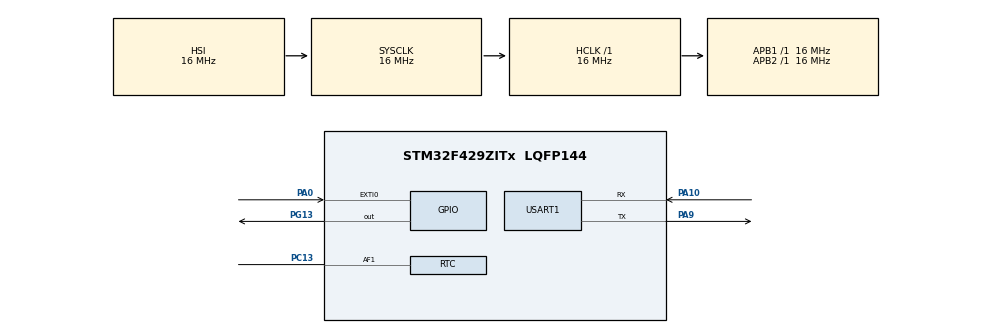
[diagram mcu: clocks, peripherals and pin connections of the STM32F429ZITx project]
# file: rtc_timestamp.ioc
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Mcu.Family=STM32F4
Mcu.Name=STM32F429ZITx
Mcu.Package=LQFP144
NVIC.EXTI0_IRQn=true\:0\:0\:false\:false\:true\:true\:true\:true
NVIC.PriorityGroup=NVIC_PRIORITYGROUP_4
NVIC.TAMP_STAMP_IRQn=true\:0\:0\:false\:false\:true\:true\:true\:true
PA0/WKUP.GPIO_ModeDefaultEXTI=GPIO_MODE_IT_RISING
PA0/WKUP.GPIO_PuPd=GPIO_PULLDOWN
PA0/WKUP.Signal=GPXTI0
PA10.Mode=Asynchronous
PA10.Signal=USART1_RX
PA9.Mode=Asynchronous
PA9.Signal=USART1_TX
PC13.Mode=Timestamp enabled - Input Enabled to AF1
PC13.Signal=RTC_AF1
PG13.Signal=GPIO_Output
ProjectManager.HeapSize=0x200
ProjectManager.StackSize=0x400
ProjectManager.TargetToolchain=STM32CubeIDE
RCC.AHBFreq_Value=16000000
RCC.APB1Freq_Value=16000000
RCC.APB2Freq_Value=16000000
RCC.CortexFreq_Value=16000000
RCC.HSE_VALUE=25000000
RCC.HSI_VALUE=16000000
RCC.LSE_VALUE=32768
RCC.RCC_RTC_Clock_Source=RCC_RTCCLKSOURCE_LSI
RCC.RCC_RTC_Clock_SourceVirtual=RCC_RTCCLKSOURCE_LSE
RCC.SYSCLKFreq_VALUE=16000000
RCC.VCOOutputFreq_Value=192000000
RTC.HourFormat=RTC_HOURFORMAT_12
RTC.TimeStampPin=RTC_TIMESTAMPPIN_DEFAULT
USART1.VirtualMode=VM_ASYNC
VP_RTC_VS_RTC_Activate.Mode=RTC_Enabled
VP_RTC_VS_RTC_Calendar.Mode=RTC_Calendar
VP_TIM4_VS_ClockSourceINT.Mode=Internal
board=custom

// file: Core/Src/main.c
/* USER CODE BEGIN Header */
/**
  ******************************************************************************
  * @file           : main.c
  * @brief          : Main program body
  ******************************************************************************
  * @attention
  *
  * Copyright (c) 2022 STMicroelectronics.
  * All rights reserved.
  *
  * This software is licensed under terms that can be found in the LICENSE file
  * in the root directory of this software component.
  * If no LICENSE file comes with this software, it is provided AS-IS.
  *
  ******************************************************************************
  */
/* USER CODE END Header */
#include "main.h"

/* USER CODE BEGIN Includes */
#include <stdio.h>
#include <string.h>
/* USER CODE END Includes */

RTC_HandleTypeDef hrtc;

TIM_HandleTypeDef htim4;

UART_HandleTypeDef huart1;

void SystemClock_Config(void);
static void MX_GPIO_Init(void);
static void MX_RTC_Init(void);
static void MX_USART1_UART_Init(void);
static void MX_TIM4_Init(void);
/* USER CODE BEGIN PFP */
char* getDayofweek(uint8_t num);
void RTC_AlarmConfig(void);
/* USER CODE END PFP */

int main(void)
{

  /* MCU Configuration--------------------------------------------------------*/

  /* Reset of all peripherals, Initializes the Flash interface and the Systick. */
  HAL_Init();

  /* Configure the system clock */
  SystemClock_Config();

  /* Initialize all configured peripherals */
  MX_GPIO_Init();
  MX_RTC_Init();
  MX_USART1_UART_Init();
  MX_TIM4_Init();

  /* Infinite loop */
  while (1)
  {

  }
}

void SystemClock_Config(void)
{
  RCC_OscInitTypeDef RCC_OscInitStruct = {0};
  RCC_ClkInitTypeDef RCC_ClkInitStruct = {0};

  /** Configure the main internal regulator output voltage
  */
  __HAL_RCC_PWR_CLK_ENABLE();
  __HAL_PWR_VOLTAGESCALING_CONFIG(PWR_REGULATOR_VOLTAGE_SCALE3);

  /** Initializes the RCC Oscillators according to the specified parameters
  * in the RCC_OscInitTypeDef structure.
  */
  RCC_OscInitStruct.OscillatorType = RCC_OSCILLATORTYPE_HSI|RCC_OSCILLATORTYPE_LSI;
  RCC_OscInitStruct.HSIState = RCC_HSI_ON;
  RCC_OscInitStruct.HSICalibrationValue = RCC_HSICALIBRATION_DEFAULT;
  RCC_OscInitStruct.LSIState = RCC_LSI_ON;
  RCC_OscInitStruct.PLL.PLLState = RCC_PLL_NONE;
  if (HAL_RCC_OscConfig(&RCC_OscInitStruct) != HAL_OK)
  {
    Error_Handler();
  }

  /** Initializes the CPU, AHB and APB buses clocks
  */
  RCC_ClkInitStruct.ClockType = RCC_CLOCKTYPE_HCLK|RCC_CLOCKTYPE_SYSCLK
                              |RCC_CLOCKTYPE_PCLK1|RCC_CLOCKTYPE_PCLK2;
  RCC_ClkInitStruct.SYSCLKSource = RCC_SYSCLKSOURCE_HSI;
  RCC_ClkInitStruct.AHBCLKDivider = RCC_SYSCLK_DIV1;
  RCC_ClkInitStruct.APB1CLKDivider = RCC_HCLK_DIV1;
  RCC_ClkInitStruct.APB2CLKDivider = RCC_HCLK_DIV1;

  if (HAL_RCC_ClockConfig(&RCC_ClkInitStruct, FLASH_LATENCY_0) != HAL_OK)
  {
    Error_Handler();
  }
}

static void MX_RTC_Init(void)
{

  RTC_TimeTypeDef sTime = {0};
  RTC_DateTypeDef sDate = {0};

  /** Initialize RTC Only
  */
  hrtc.Instance = RTC;
  hrtc.Init.HourFormat = RTC_HOURFORMAT_12;
  hrtc.Init.AsynchPrediv = 127;
  hrtc.Init.SynchPrediv = 255;
  hrtc.Init.OutPut = RTC_OUTPUT_DISABLE;
  hrtc.Init.OutPutPolarity = RTC_OUTPUT_POLARITY_HIGH;
  hrtc.Init.OutPutType = RTC_OUTPUT_TYPE_OPENDRAIN;
  if (HAL_RTC_Init(&hrtc) != HAL_OK)
  {
    Error_Handler();
  }

  /** Initialize RTC and set the Time and Date
  */
  sTime.Hours = 0x1;
  sTime.Minutes = 0x0;
  sTime.Seconds = 0x0;
  sTime.TimeFormat = RTC_HOURFORMAT12_AM;
  sTime.DayLightSaving = RTC_DAYLIGHTSAVING_NONE;
  sTime.StoreOperation = RTC_STOREOPERATION_RESET;
  if (HAL_RTC_SetTime(&hrtc, &sTime, RTC_FORMAT_BCD) != HAL_OK)
  {
    Error_Handler();
  }
  sDate.WeekDay = RTC_WEEKDAY_MONDAY;
  sDate.Month = RTC_MONTH_JANUARY;
  sDate.Date = 0x1;
  sDate.Year = 0x0;

  if (HAL_RTC_SetDate(&hrtc, &sDate, RTC_FORMAT_BCD) != HAL_OK)
  {
    Error_Handler();
  }

  /** Enable the TimeStamp
  */
  if (HAL_RTCEx_SetTimeStamp_IT(&hrtc, RTC_TIMESTAMPEDGE_RISING, RTC_TIMESTAMPPIN_DEFAULT) != HAL_OK)
  {
    Error_Handler();
  }

}

static void MX_TIM4_Init(void)
{

  TIM_ClockConfigTypeDef sClockSourceConfig = {0};
  TIM_MasterConfigTypeDef sMasterConfig = {0};

  htim4.Instance = TIM4;
  htim4.Init.Prescaler = 0;
  htim4.Init.CounterMode = TIM_COUNTERMODE_UP;
  htim4.Init.Period = 65535;
  htim4.Init.ClockDivision = TIM_CLOCKDIVISION_DIV1;
  htim4.Init.AutoReloadPreload = TIM_AUTORELOAD_PRELOAD_DISABLE;
  if (HAL_TIM_Base_Init(&htim4) != HAL_OK)
  {
    Error_Handler();
  }
  sClockSourceConfig.ClockSource = TIM_CLOCKSOURCE_INTERNAL;
  if (HAL_TIM_ConfigClockSource(&htim4, &sClockSourceConfig) != HAL_OK)
  {
    Error_Handler();
  }
  sMasterConfig.MasterOutputTrigger = TIM_TRGO_RESET;
  sMasterConfig.MasterSlaveMode = TIM_MASTERSLAVEMODE_DISABLE;
  if (HAL_TIMEx_MasterConfigSynchronization(&htim4, &sMasterConfig) != HAL_OK)
  {
    Error_Handler();
  }

}

static void MX_USART1_UART_Init(void)
{

  huart1.Instance = USART1;
  huart1.Init.BaudRate = 115200;
  huart1.Init.WordLength = UART_WORDLENGTH_8B;
  huart1.Init.StopBits = UART_STOPBITS_1;
  huart1.Init.Parity = UART_PARITY_NONE;
  huart1.Init.Mode = UART_MODE_TX_RX;
  huart1.Init.HwFlowCtl = UART_HWCONTROL_NONE;
  huart1.Init.OverSampling = UART_OVERSAMPLING_16;
  if (HAL_UART_Init(&huart1) != HAL_OK)
  {
    Error_Handler();
  }

}

static void MX_GPIO_Init(void)
{
  GPIO_InitTypeDef GPIO_InitStruct = {0};

  /* GPIO Ports Clock Enable */
  __HAL_RCC_GPIOC_CLK_ENABLE();
  __HAL_RCC_GPIOA_CLK_ENABLE();
  __HAL_RCC_GPIOG_CLK_ENABLE();

  /*Configure GPIO pin Output Level */
  HAL_GPIO_WritePin(GPIOG, GPIO_PIN_13, GPIO_PIN_RESET);

  /*Configure GPIO pin : PA0 */
  GPIO_InitStruct.Pin = GPIO_PIN_0;
  GPIO_InitStruct.Mode = GPIO_MODE_IT_RISING;
  GPIO_InitStruct.Pull = GPIO_PULLDOWN;
  HAL_GPIO_Init(GPIOA, &GPIO_InitStruct);

  /*Configure GPIO pin : PG13 */
  GPIO_InitStruct.Pin = GPIO_PIN_13;
  GPIO_InitStruct.Mode = GPIO_MODE_OUTPUT_PP;
  GPIO_InitStruct.Pull = GPIO_NOPULL;
  GPIO_InitStruct.Speed = GPIO_SPEED_FREQ_LOW;
  HAL_GPIO_Init(GPIOG, &GPIO_InitStruct);

  /* EXTI interrupt init*/
  HAL_NVIC_SetPriority(EXTI0_IRQn, 0, 0);
  HAL_NVIC_EnableIRQ(EXTI0_IRQn);

}

/* USER CODE BEGIN 4 */
char* getDayofweek(uint8_t num)
{
	char *weekday[] = {"Mon","Tue","Wed","Thu","Fri","Sat","Sun"};

	return weekday[num-1];
}

/*
void RTC_AlarmConfig(void)
{
	RTC_AlarmTypeDef AlarmA_Set;

	memset(&AlarmA_Set,0,sizeof(AlarmA_Set));

	HAL_RTC_DeactivateAlarm(&hrtc, RTC_ALARM_A);

	AlarmA_Set.Alarm = RTC_ALARM_A;
	AlarmA_Set.AlarmTime.Minutes = 0;
	AlarmA_Set.AlarmTime.Seconds = 10;
	AlarmA_Set.AlarmMask = RTC_ALARMMASK_HOURS | RTC_ALARMMASK_DATEWEEKDAY |RTC_ALARMMASK_MINUTES;
	AlarmA_Set.AlarmSubSecondMask = RTC_ALARMSUBSECONDMASK_NONE;

	HAL_RTC_SetAlarm_IT(&hrtc, &AlarmA_Set, RTC_FORMAT_BIN);
}
*/

void HAL_GPIO_EXTI_Callback(uint16_t GPIO_Pin)
{
	if(GPIO_Pin == GPIO_PIN_0)
	{
		RTC_TimeTypeDef RTC_TimeRead;
		RTC_DateTypeDef RTC_DateRead;

		char buf[80];

		HAL_RTC_GetTime(&hrtc, &RTC_TimeRead, RTC_FORMAT_BIN);
		HAL_RTC_GetDate(&hrtc, &RTC_DateRead, RTC_FORMAT_BIN);

		sprintf(buf,"Current Time is : %02d:%02d:%02d\r\n",RTC_TimeRead.Hours,\
				RTC_TimeRead.Minutes,RTC_TimeRead.Seconds);
		HAL_UART_Transmit(&huart1, (uint8_t*)buf, strlen(buf), HAL_MAX_DELAY);

		sprintf(buf,"Current Date is : %02d-%2d-%2d <%s>\r\n",RTC_DateRead.Month,\
				RTC_DateRead.Date,RTC_DateRead.Year,getDayofweek(RTC_DateRead.WeekDay));
		HAL_UART_Transmit(&huart1, (uint8_t*)buf, strlen(buf), HAL_MAX_DELAY);

		// RTC_AlarmConfig();
	}
}

/*
void HAL_RTC_AlarmAEventCallback(RTC_HandleTypeDef *hrtc)
{
	char buf[30];

	sprintf(buf,"AlarmA caught!\r\n\r\n");
	HAL_UART_Transmit(&huart1, (uint8_t*)buf, strlen(buf), HAL_MAX_DELAY);

	HAL_GPIO_WritePin(GPIOG, GPIO_PIN_13, GPIO_PIN_SET);
}
*/

void HAL_RTCEx_TimeStampEventCallback(RTC_HandleTypeDef *hrtc)
{
	RTC_TimeTypeDef stampTime;
	RTC_DateTypeDef stampDate;

	char buf[80];

	HAL_RTCEx_GetTimeStamp(hrtc, &stampTime, &stampDate, RTC_FORMAT_BIN);

	sprintf(buf,"\r\n\r\nTimeStamp is occurred !\r\n");
	HAL_UART_Transmit(&huart1, (uint8_t*)buf, strlen(buf), HAL_MAX_DELAY);

	sprintf(buf,"TimeStamp Time is : %02d:%02d:%02d\r\n",stampTime.Hours,\
			stampTime.Minutes,stampTime.Seconds);
	HAL_UART_Transmit(&huart1, (uint8_t*)buf, strlen(buf), HAL_MAX_DELAY);

	sprintf(buf,"TimeStamp Date is : %02d-%2d-%2d <%s>\r\n",stampDate.Month,\
			stampDate.Date,stampDate.Year,getDayofweek(stampDate.WeekDay));
	HAL_UART_Transmit(&huart1, (uint8_t*)buf, strlen(buf), HAL_MAX_DELAY);

}

/* USER CODE END 4 */

void Error_Handler(void)
{
  __disable_irq();
  while (1)
  {
  }
}
